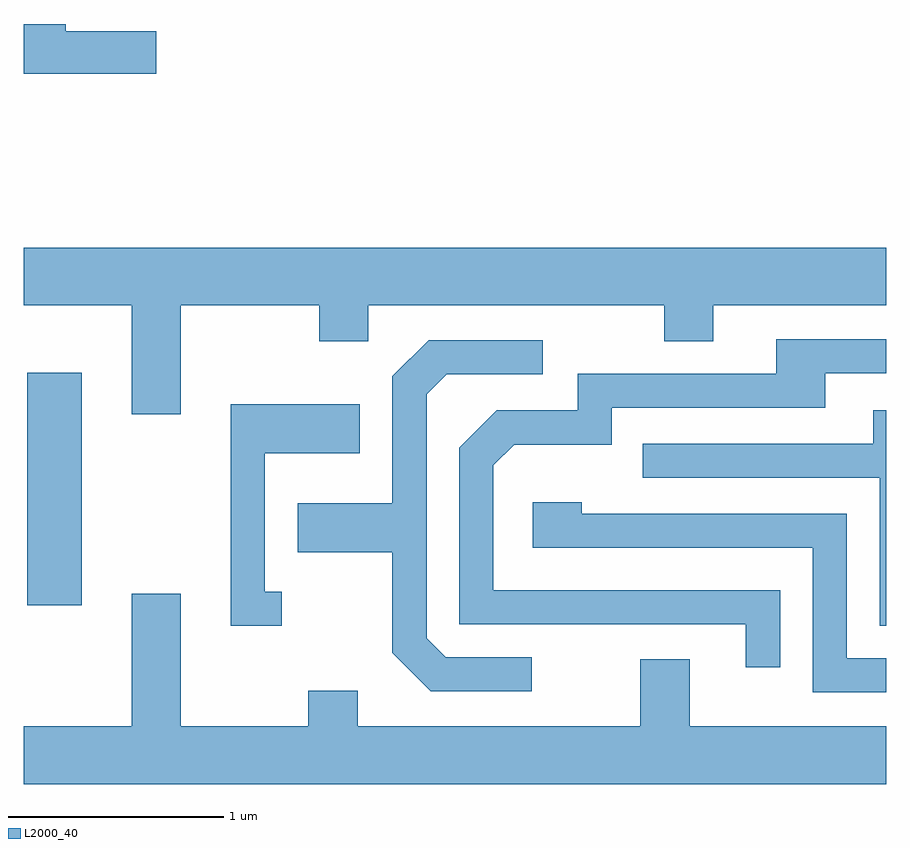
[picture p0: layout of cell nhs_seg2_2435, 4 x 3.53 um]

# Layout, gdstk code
import gdstk
lib = gdstk.Library(unit=1e-6, precision=1e-09)
def R(c, l, rs):  # rectangles x0, y0, x1, y1
    for r in rs: c.add(gdstk.rectangle(r[:2], r[2:], *l))
def P(c, l, *ps):  # polygons
    for p in ps: c.add(gdstk.Polygon(p, *l))
L2000_40 = (2000, 40)

nhs_seg2_2435 = lib.new_cell('nhs_seg2_2435')
R(nhs_seg2_2435, L2000_40, [(255.626,1089.106,255.879,1090.184)])
P(nhs_seg2_2435, L2000_40, [(256.224,1091.769),(255.804,1091.769),(255.804,1091.802),(255.611,1091.802),(255.611,1091.571),(256.224,1091.571)],
  [(256.339,1090.496),(256.981,1090.496),(256.981,1090.331),(257.209,1090.331),(257.209,1090.496),(258.581,1090.496),(258.581,1090.331),(258.809,1090.331),(258.809,1090.496),(259.611,1090.496),(259.611,1090.764),(255.611,1090.764),(255.611,1090.496),(256.111,1090.496),(256.111,1089.991),(256.339,1089.991)],
  [(259.119,1089.174),(257.789,1089.174),(257.789,1089.754),(257.887,1089.851),(258.339,1089.851),(258.339,1090.021),(259.329,1090.021),(259.329,1090.181),(259.611,1090.181),(259.611,1090.339),(259.101,1090.339),(259.101,1090.179),(258.181,1090.179),(258.181,1090.009),(257.804,1090.009),(257.631,1089.837),(257.631,1089.016),(258.961,1089.016),(258.961,1088.818),(259.119,1088.818)],
  [(257.968,1088.864),(257.567,1088.864),(257.479,1088.952),(257.479,1090.084),(257.572,1090.176),(258.017,1090.176),(258.017,1090.334),(257.489,1090.334),(257.321,1090.167),(257.321,1089.579),(256.881,1089.579),(256.881,1089.351),(257.321,1089.351),(257.321,1088.884),(257.498,1088.706),(257.968,1088.706)],
  [(256.808,1089.169),(256.729,1089.169),(256.729,1089.811),(257.169,1089.811),(257.169,1090.039),(256.571,1090.039),(256.571,1089.011),(256.808,1089.011)],
  [(259.611,1090.009),(259.551,1090.009),(259.551,1089.854),(258.483,1089.854),(258.483,1089.696),(259.581,1089.696),(259.581,1089.011),(259.611,1089.011)],
  [(259.611,1088.859),(259.429,1088.859),(259.429,1089.529),(258.199,1089.529),(258.199,1089.584),(257.971,1089.584),(257.971,1089.371),(259.271,1089.371),(259.271,1088.701),(259.611,1088.701)],
  [(259.611,1088.544),(258.699,1088.544),(258.699,1088.854),(258.471,1088.854),(258.471,1088.544),(257.159,1088.544),(257.159,1088.709),(256.931,1088.709),(256.931,1088.544),(256.339,1088.544),(256.339,1089.159),(256.111,1089.159),(256.111,1088.544),(255.611,1088.544),(255.611,1088.276),(259.611,1088.276)])

lib.write_gds('nhs_seg2_2435.gds')
